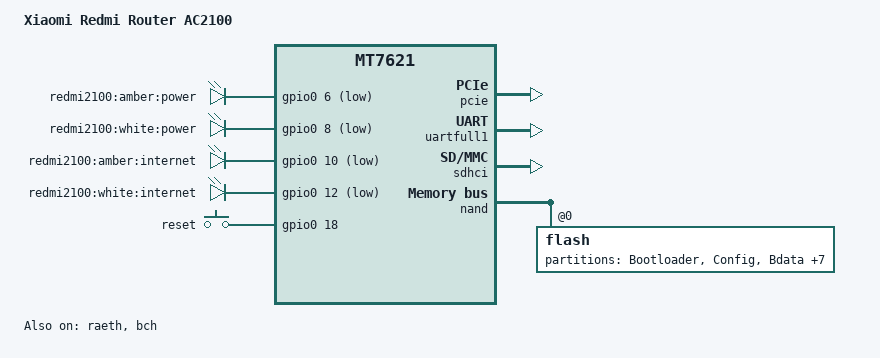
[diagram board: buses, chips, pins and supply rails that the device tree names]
/dts-v1/;

#include "mt7621.dtsi"
#include <dt-bindings/gpio/gpio.h>
#include <dt-bindings/input/input.h>

/ {
	compatible = "xiaomi,redmi2100", "mediatek,mt7621-soc";
	model = "Xiaomi Redmi Router AC2100";

	chosen {
		bootargs = "console=ttyS0,115200";
	};


	leds {
		compatible = "gpio-leds";

		power_amber {
			label = "redmi2100:amber:power";
			gpios = <&gpio0 6 1>;
		};

		power_white {
			label = "redmi2100:white:power";
			gpios = <&gpio0 8 1>;
		};
		
		internet_amber {
			label = "redmi2100:amber:internet";
			gpios = <&gpio0 10 1>;
		};

		internet_white {
			label = "redmi2100:white:internet";
			gpios = <&gpio0 12 1>;
		};
	};

	gpio-keys-polled {
		compatible = "gpio-keys-polled";
		#address-cells = <1>;
		#size-cells = <0>;
		poll-interval = <20>;

		reset {
			label = "reset";
			gpios = <&gpio0 18 0>;
			linux,code = <KEY_RESTART>;
		};
	};
};

&raeth {
	mac-address = [00 00 00 00 00 00];
	wan_at = "p0";
	gmac1-support = "rgmii-1";
	rgmii-mode-1 = "force-1000";
	gmac2-support = "rgmii-2";
	rgmii-mode-2 = "force-1000";
	gmac2-phy-address = <0>;
	gmac1_txq_num = <1>;
	gmac1_txq_txd_num = <1024>;
	gmac2_txq_num = <1>;
	gmac2_txq_txd_num = <1024>;
	num_rx_desc = <1024>;
	status = "okay";
};


&pcie {
	status = "okay";
};

&pinctrl {
	state_default: pinctrl0 {
		gpio {
			mtk,group = "i2c", "uart3";
			mtk,function = "gpio";
		};

		uart2 {
			mtk,group = "uart2";
			mtk,function = "uart2";
		};
	};
};

&uartfull1 {
	status = "okay";
};

&sdhci {
	status = "okay";

	pinctrl-names = "default";
	pinctrl-0 = <&sdhci_pins>;
};

&nand {
	status = "okay";

	flash@0 {
		reg = <0>;
		nand-ecc-mode = "hw";
		partitions {
			compatible = "fixed-partitions";
			#address-cells = <1>;
			#size-cells = <1>;

		partition@0 {
			label = "Bootloader";
			reg = <0x0 0x80000>;
			read-only;
		};

		partition@80000 {
			label = "Config";
			reg = <0x80000 0x40000>;
		};

		partition@c0000 {
			label = "Bdata";
			reg = <0xc0000 0x40000>;
			read-only;
		};

		factory: partition@100000 {
			label = "Factory";
			reg = <0x100000 0x40000>;
			read-only;
		};

		partition@140000 {
			label = "crash";
			reg = <0x140000 0x40000>;
		};

		partition@180000 {
			label = "crash_syslog";
			reg = <0x180000 0x40000>;
		};

		partition@1c0000 {
			label = "reserved0";
			reg = <0x1c0000 0x40000>;
			read-only;
		};

		/* We keep stock xiaomi firmware (kernel0) here */
		partition@200000 {
			label = "kernel_stock";
			reg = <0x200000 0x400000>;
		};

		partition@600000 {
			label = "kernel";
			reg = <0x600000 0x400000>;
		};

		partition@a00000 {
			label = "ubi";
			reg = <0xa00000 0x7580000>;
		};
		
		
		};
	};
};

&bch {
	status = "okay";
};

